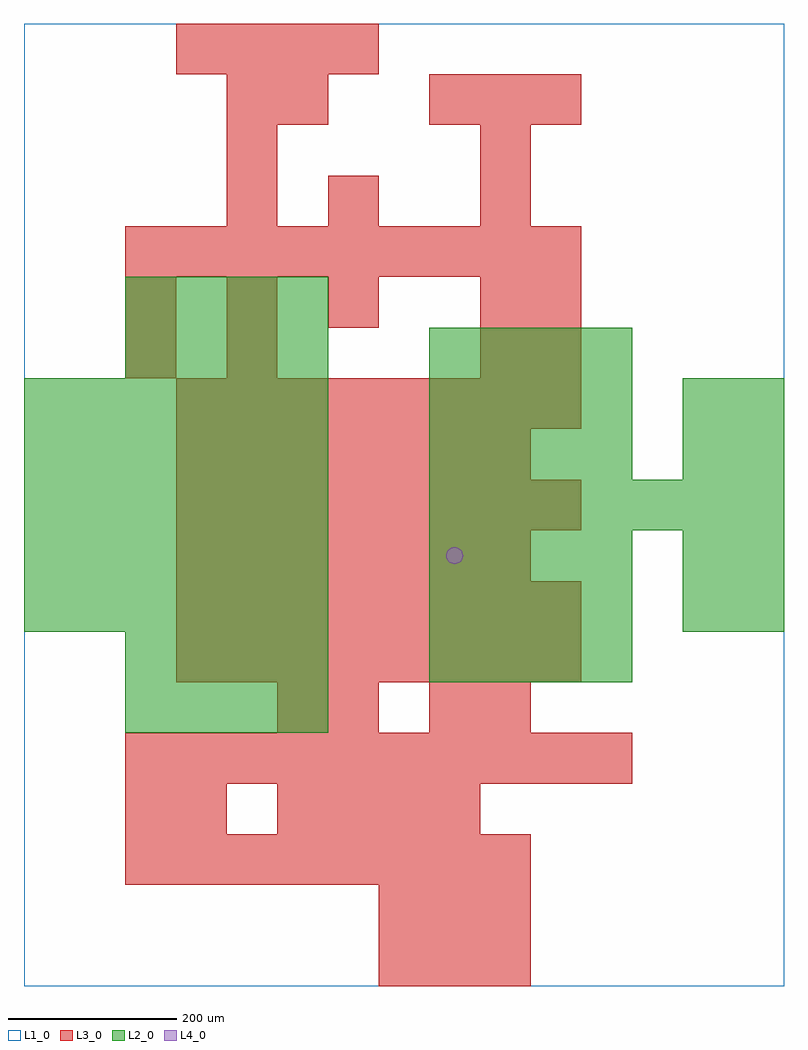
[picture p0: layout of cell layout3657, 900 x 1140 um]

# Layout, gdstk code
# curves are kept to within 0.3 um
import gdstk
lib = gdstk.Library(unit=1e-6, precision=1e-09)
def R(c, l, rs):  # rectangles x0, y0, x1, y1
    for r in rs: c.add(gdstk.rectangle(r[:2], r[2:], *l))
def A(c, l, x, y, w, h, nx, ny, dx, dy):  # array of equal rectangles
    R(c, l, [(x+i*dx, y+j*dy, x+i*dx+w, y+j*dy+h) for i in range(nx) for j in range(ny)])
def P(c, l, *ps):  # polygons
    for p in ps: c.add(gdstk.Polygon(p, *l))
L1_0 = (1, 0)
L2_0 = (2, 0)
L3_0 = (3, 0)
L4_0 = (4, 0)

layout3657 = lib.new_cell('layout3657')
R(layout3657, L1_0, [(0,0,900,1140)])
A(layout3657, L2_0, 120, 300, 60, 60, 4, 2, 60, 60)
A(layout3657, L2_0, 480, 360, 60, 60, 4, 3, 60, 60)
A(layout3657, L2_0, 0, 420, 60, 60, 6, 5, 60, 60)
A(layout3657, L2_0, 480, 540, 60, 60, 7, 1, 60, 0)
A(layout3657, L2_0, 480, 600, 60, 60, 4, 3, 60, 60)
A(layout3657, L2_0, 120, 720, 60, 60, 4, 2, 60, 60)
R(layout3657, L2_0, [(780,420,840,480), (840,420,900,480), (780,480,840,540), (840,480,900,540), (780,600,840,660), (840,600,900,660), (780,660,840,720), (840,660,900,720)])
A(layout3657, L3_0, 420, 0, 60, 60, 3, 2, 60, 60)
A(layout3657, L3_0, 120, 120, 60, 60, 8, 1, 60, 0)
A(layout3657, L3_0, 300, 180, 60, 60, 4, 1, 60, 0)
A(layout3657, L3_0, 120, 240, 60, 60, 10, 1, 60, 0)
A(layout3657, L3_0, 180, 360, 60, 60, 8, 2, 60, 60)
A(layout3657, L3_0, 180, 480, 60, 60, 7, 2, 60, 120)
A(layout3657, L3_0, 180, 540, 60, 60, 8, 2, 60, 120)
A(layout3657, L3_0, 120, 780, 60, 60, 3, 1, 120, 0)
A(layout3657, L3_0, 120, 840, 60, 60, 9, 1, 60, 0)
A(layout3657, L3_0, 240, 900, 60, 60, 1, 3, 0, 60)
A(layout3657, L3_0, 480, 1020, 60, 60, 3, 1, 60, 0)
A(layout3657, L3_0, 180, 1080, 60, 60, 4, 1, 60, 0)
R(layout3657, L3_0, [(120,180,180,240), (180,180,240,240), (300,300,360,360), (360,300,420,360), (480,300,540,360), (540,300,600,360), (120,720,180,780), (240,720,300,780), (540,720,600,780), (600,720,660,780), (540,780,600,840), (600,780,660,840), (360,900,420,960), (540,900,600,960), (540,960,600,1020), (300,1020,360,1080)])
P(layout3657, L4_0, [(520,510),(519.239,513.827),(517.071,517.071),(513.827,519.239),(510,520),(506.173,519.239),(502.929,517.071),(500.761,513.827),(500,510),(500.761,506.173),(502.929,502.929),(506.173,500.761),(510,500),(513.827,500.761),(517.071,502.929),(519.239,506.173)])

lib.write_gds('layout3657.gds')
